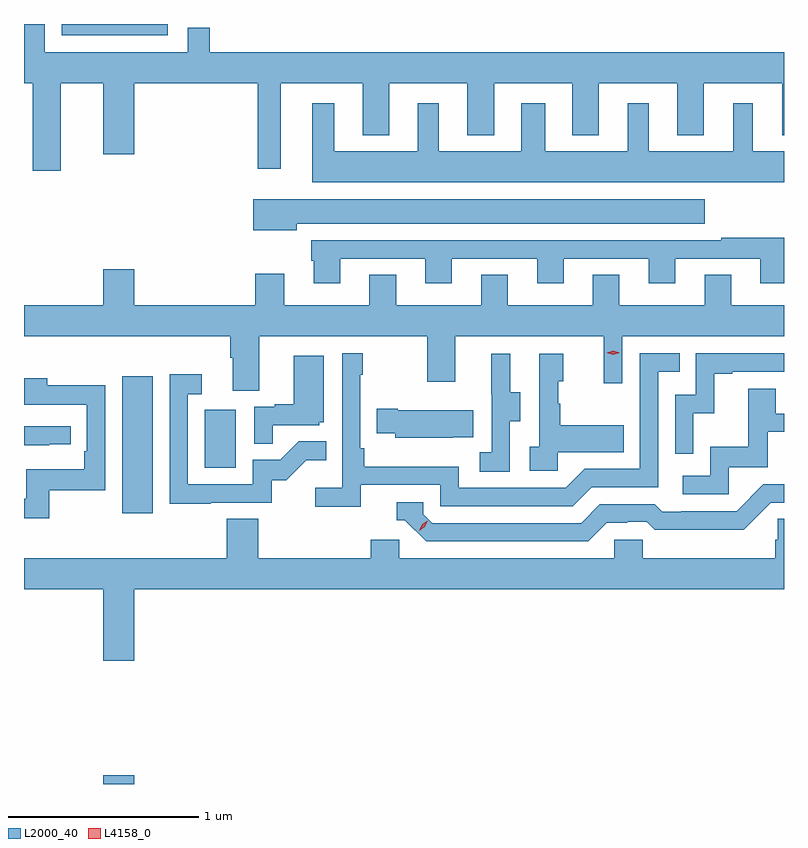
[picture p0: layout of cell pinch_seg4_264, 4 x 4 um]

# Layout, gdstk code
import gdstk
lib = gdstk.Library(unit=1e-6, precision=1e-09)
def R(c, l, rs):  # rectangles x0, y0, x1, y1
    for r in rs: c.add(gdstk.rectangle(r[:2], r[2:], *l))
def P(c, l, *ps):  # polygons
    for p in ps: c.add(gdstk.Polygon(p, *l))
L2000_40 = (2000, 40)
L4158_0 = (4158, 0)

pinch_seg4_264 = lib.new_cell('pinch_seg4_264')
R(pinch_seg4_264, L2000_40, [(944.228,822.436,944.392,822.481), (944.327,823.86,944.488,824.581), (944.762,824.1,944.926,824.407), (944.01,826.377,944.568,826.436)])
P(pinch_seg4_264, L2000_40, [(944.005,826.124),(944.228,826.124),(944.228,825.75),(944.392,825.75),(944.392,826.124),(945.042,826.124),(945.042,825.675),(945.163,825.675),(945.163,826.124),(945.593,826.124),(945.593,825.851),(945.733,825.851),(945.733,826.124),(946.145,826.124),(946.145,825.851),(946.285,825.851),(946.285,826.124),(946.697,826.124),(946.697,825.851),(946.837,825.851),(946.837,826.124),(947.249,826.124),(947.249,825.851),(947.389,825.851),(947.389,826.124),(947.801,826.124),(947.801,825.851),(947.811,825.851),(947.811,826.288),(944.789,826.288),(944.789,826.415),(944.673,826.415),(944.673,826.288),(943.921,826.288),(943.921,826.436),(943.811,826.436),(943.811,826.124),(943.858,826.124),(943.858,825.663),(944.005,825.663)],
  [(947.811,825.766),(947.647,825.766),(947.647,826.018),(947.543,826.018),(947.543,825.766),(947.098,825.766),(947.098,826.018),(946.988,826.018),(946.988,825.766),(946.555,825.766),(946.555,826.018),(946.427,826.018),(946.427,825.766),(945.994,825.766),(945.994,826.018),(945.884,826.018),(945.884,825.766),(945.445,825.766),(945.445,826.018),(945.329,826.018),(945.329,825.602),(947.811,825.602)],
  [(945.247,825.386),(947.395,825.386),(947.395,825.514),(945.018,825.514),(945.018,825.35),(945.247,825.35)],
  [(945.475,825.201),(945.923,825.201),(945.923,825.072),(946.063,825.072),(946.063,825.201),(946.511,825.201),(946.511,825.072),(946.651,825.072),(946.651,825.201),(947.099,825.201),(947.099,825.072),(947.239,825.072),(947.239,825.201),(947.687,825.201),(947.687,825.072),(947.811,825.072),(947.811,825.31),(947.482,825.31),(947.482,825.297),(945.323,825.297),(945.323,825.189),(945.335,825.189),(945.335,825.072),(945.475,825.072)],
  [(945.934,824.553),(946.081,824.553),(946.081,824.792),(946.862,824.792),(946.862,824.544),(946.959,824.544),(946.959,824.792),(947.811,824.792),(947.811,824.956),(947.533,824.956),(947.533,825.116),(947.393,825.116),(947.393,824.956),(946.945,824.956),(946.945,825.116),(946.805,825.116),(946.805,824.956),(946.357,824.956),(946.357,825.116),(946.217,825.116),(946.217,824.956),(945.769,824.956),(945.769,825.116),(945.629,825.116),(945.629,824.956),(945.181,824.956),(945.181,825.121),(945.029,825.121),(945.029,824.956),(944.392,824.956),(944.392,825.145),(944.228,825.145),(944.228,824.956),(943.811,824.956),(943.811,824.792),(944.897,824.792),(944.897,824.68),(944.909,824.68),(944.909,824.506),(945.049,824.506),(945.049,824.792),(945.934,824.792)],
  [(945.584,824.01),(946.002,824.01),(946.002,823.899),(946.699,823.899),(946.798,823.998),(947.148,823.998),(947.148,824.607),(947.261,824.607),(947.261,824.703),(947.052,824.703),(947.052,824.094),(946.761,824.094),(946.662,823.995),(946.098,823.995),(946.098,824.107),(945.602,824.107),(945.602,824.203),(945.582,824.203),(945.582,824.591),(945.595,824.591),(945.595,824.704),(945.486,824.704),(945.486,823.996),(945.345,823.996),(945.345,823.894),(945.584,823.894)],
  [(947.334,824.387),(947.444,824.387),(947.444,824.595),(947.539,824.595),(947.539,824.607),(947.811,824.607),(947.811,824.703),(947.346,824.703),(947.346,824.484),(947.238,824.484),(947.238,824.175),(947.334,824.175)],
  [(946.368,824.344),(946.423,824.344),(946.423,824.499),(946.369,824.499),(946.369,824.701),(946.271,824.701),(946.271,824.487),(946.272,824.487),(946.272,824.183),(946.209,824.183),(946.209,824.08),(946.368,824.08)],
  [(946.62,824.183),(946.967,824.183),(946.967,824.323),(946.633,824.323),(946.633,824.438),(946.623,824.438),(946.623,824.556),(946.648,824.556),(946.648,824.701),(946.524,824.701),(946.524,824.21),(946.473,824.21),(946.473,824.085),(946.62,824.085)],
  [(945.119,824.325),(945.366,824.325),(945.366,824.34),(945.388,824.34),(945.388,824.689),(945.23,824.689),(945.23,824.434),(945.131,824.434),(945.131,824.421),(945.024,824.421),(945.024,824.227),(945.119,824.227)],
  [(944.795,823.917),(945.114,823.917),(945.114,824.034),(945.19,824.034),(945.297,824.141),(945.401,824.141),(945.401,824.24),(945.257,824.24),(945.159,824.142),(945.015,824.142),(945.015,824.013),(944.673,824.013),(944.673,824.487),(944.746,824.487),(944.746,824.593),(944.577,824.593),(944.577,823.912),(944.795,823.912)],
  [(943.945,823.983),(944.238,823.983),(944.238,824.534),(943.933,824.534),(943.933,824.572),(943.811,824.572),(943.811,824.432),(943.829,824.432),(943.829,824.433),(944.142,824.433),(944.142,824.188),(944.129,824.188),(944.129,824.092),(943.824,824.092),(943.824,823.937),(943.811,823.937),(943.811,823.836),(943.945,823.836)],
  [(947.52,824.103),(947.725,824.103),(947.725,824.289),(947.811,824.289),(947.811,824.385),(947.767,824.385),(947.767,824.515),(947.623,824.515),(947.623,824.212),(947.424,824.212),(947.424,824.058),(947.277,824.058),(947.277,823.962),(947.52,823.962)],
  [(946.067,824.261),(946.175,824.261),(946.175,824.404),(945.778,824.404),(945.778,824.412),(945.667,824.412),(945.667,824.282),(945.765,824.282),(945.765,824.258),(946.067,824.258)],
  [(943.943,824.223),(944.056,824.223),(944.056,824.319),(943.811,824.319),(943.811,824.218),(943.943,824.218)],
  [(946.879,823.812),(946.986,823.812),(946.986,823.815),(947.089,823.815),(947.131,823.773),(947.364,823.773),(947.364,823.775),(947.6,823.775),(947.742,823.917),(947.811,823.917),(947.811,824.013),(947.703,824.013),(947.562,823.872),(947.269,823.872),(947.269,823.869),(947.17,823.869),(947.131,823.908),(946.842,823.908),(946.743,823.809),(945.96,823.809),(945.912,823.857),(945.912,823.92),(945.773,823.92),(945.773,823.824),(945.816,823.824),(945.927,823.713),(946.78,823.713)],
  [(944.392,823.46),(947.811,823.46),(947.811,823.832),(947.779,823.832),(947.779,823.722),(947.765,823.722),(947.765,823.624),(947.067,823.624),(947.067,823.722),(946.917,823.722),(946.917,823.624),(945.786,823.624),(945.786,823.722),(945.635,823.722),(945.635,823.624),(945.044,823.624),(945.044,823.832),(944.879,823.832),(944.879,823.624),(943.811,823.624),(943.811,823.46),(944.228,823.46),(944.228,823.086),(944.392,823.086)])
P(pinch_seg4_264, L4158_0, [(946.912,824.696),(946.877,824.705),(946.876,824.705),(946.877,824.706),(946.912,824.716),(946.947,824.707),(946.947,824.707),(946.947,824.707)],
  [(945.89,823.77),(945.89,823.77),(945.906,823.803),(945.937,823.822),(945.937,823.822),(945.937,823.822),(945.921,823.789),(945.89,823.77)])

lib.write_gds('pinch_seg4_264.gds')
